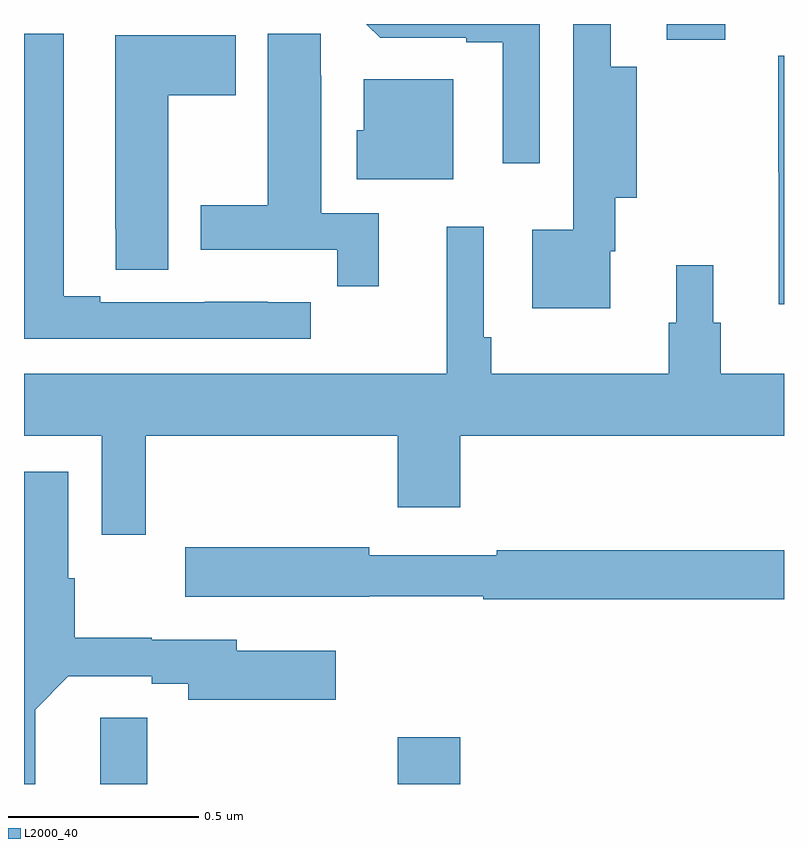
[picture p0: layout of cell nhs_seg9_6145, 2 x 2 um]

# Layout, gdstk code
import gdstk
lib = gdstk.Library(unit=1e-6, precision=1e-09)
def R(c, l, rs):  # rectangles x0, y0, x1, y1
    for r in rs: c.add(gdstk.rectangle(r[:2], r[2:], *l))
def P(c, l, *ps):  # polygons
    for p in ps: c.add(gdstk.Polygon(p, *l))
L2000_40 = (2000, 40)

nhs_seg9_6145 = lib.new_cell('nhs_seg9_6145')
R(nhs_seg9_6145, L2000_40, [(188.201,1199.5,188.324,1199.674), (188.984,1199.5,189.148,1199.623), (189.692,1201.458,189.845,1201.5)])
P(nhs_seg9_6145, L2000_40, [(189.357,1201.5),(188.901,1201.5),(188.937,1201.464),(189.164,1201.464),(189.164,1201.452),(189.26,1201.452),(189.26,1201.134),(189.357,1201.134)],
  [(189.543,1200.902),(189.556,1200.902),(189.556,1201.043),(189.612,1201.043),(189.612,1201.387),(189.544,1201.387),(189.544,1201.5),(189.446,1201.5),(189.446,1201.283),(189.445,1201.283),(189.445,1200.958),(189.338,1200.958),(189.338,1200.752),(189.543,1200.752)],
  [(188.933,1201.002),(188.782,1201.002),(188.782,1201.364),(188.781,1201.364),(188.781,1201.475),(188.642,1201.475),(188.642,1201.023),(188.465,1201.023),(188.465,1200.906),(188.824,1200.906),(188.824,1200.81),(188.933,1200.81)],
  [(188.755,1200.768),(188.642,1200.768),(188.642,1200.769),(188.476,1200.769),(188.476,1200.768),(188.2,1200.768),(188.2,1200.783),(188.104,1200.783),(188.104,1201.475),(188,1201.475),(188,1200.672),(188.755,1200.672)],
  [(188.38,1201.312),(188.557,1201.312),(188.557,1201.471),(188.24,1201.471),(188.24,1200.961),(188.241,1200.961),(188.241,1200.853),(188.38,1200.853)],
  [(190,1201.417),(189.985,1201.417),(189.985,1201.11),(189.986,1201.11),(189.986,1200.762),(190,1200.762)],
  [(189.13,1201.354),(188.894,1201.354),(188.894,1201.221),(188.876,1201.221),(188.876,1201.091),(189.13,1201.091)],
  [(188.321,1200.416),(188.984,1200.416),(188.984,1200.228),(189.148,1200.228),(189.148,1200.416),(190,1200.416),(190,1200.58),(189.833,1200.58),(189.833,1200.714),(189.814,1200.714),(189.814,1200.865),(189.716,1200.865),(189.716,1200.714),(189.697,1200.714),(189.697,1200.58),(189.23,1200.58),(189.23,1200.676),(189.21,1200.676),(189.21,1200.967),(189.113,1200.967),(189.113,1200.58),(188,1200.58),(188,1200.416),(188.205,1200.416),(188.205,1200.156),(188.321,1200.156)],
  [(188.029,1199.696),(188.116,1199.784),(188.336,1199.784),(188.336,1199.764),(188.432,1199.764),(188.432,1199.722),(188.821,1199.722),(188.821,1199.851),(188.56,1199.851),(188.56,1199.88),(188.336,1199.88),(188.336,1199.885),(188.134,1199.885),(188.134,1200.042),(188.116,1200.042),(188.116,1200.322),(188,1200.322),(188,1199.902),(188.001,1199.902),(188.001,1199.808),(188,1199.807),(188,1199.5),(188.029,1199.5)],
  [(190,1200.115),(189.244,1200.115),(189.244,1200.102),(188.908,1200.102),(188.908,1200.123),(188.424,1200.123),(188.424,1199.993),(188.908,1199.993),(188.908,1199.994),(189.208,1199.994),(189.208,1199.986),(190,1199.986)])

lib.write_gds('nhs_seg9_6145.gds')
